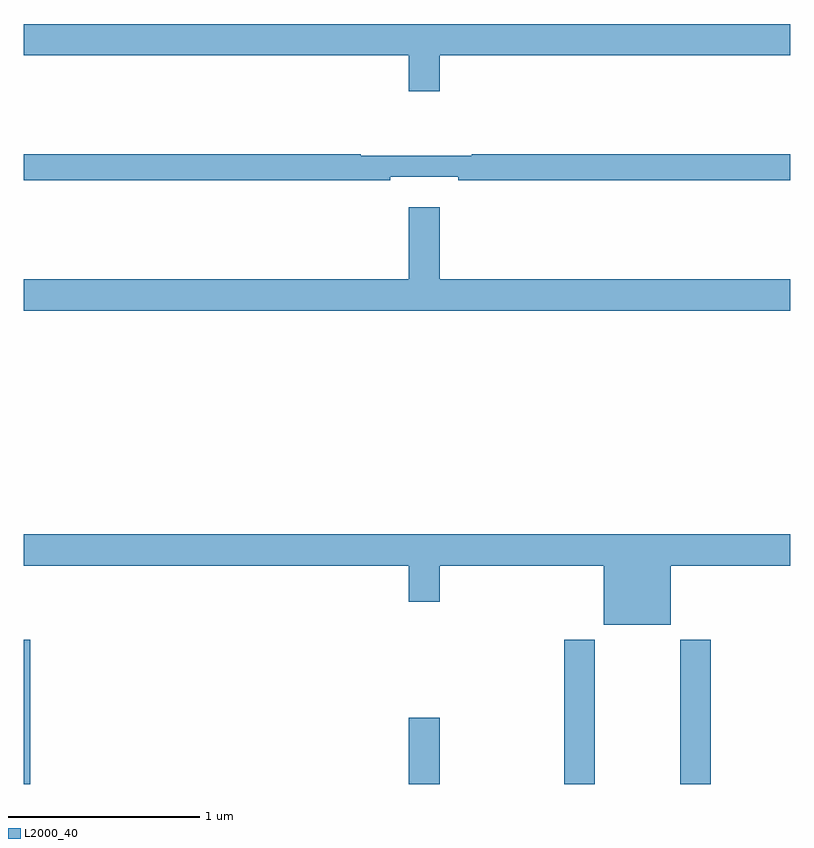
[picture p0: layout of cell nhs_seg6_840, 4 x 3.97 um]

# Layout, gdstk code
import gdstk
lib = gdstk.Library(unit=1e-6, precision=1e-09)
def R(c, l, rs):  # rectangles x0, y0, x1, y1
    for r in rs: c.add(gdstk.rectangle(r[:2], r[2:], *l))
def P(c, l, *ps):  # polygons
    for p in ps: c.add(gdstk.Polygon(p, *l))
L2000_40 = (2000, 40)

nhs_seg6_840 = lib.new_cell('nhs_seg6_840')
R(nhs_seg6_840, L2000_40, [(163,975.5,163.034,976.252), (165.008,975.5,165.172,975.847), (165.821,975.5,165.981,976.252), (166.426,975.5,166.586,976.252)])
P(nhs_seg6_840, L2000_40, [(165.172,979.304),(167,979.304),(167,979.468),(163,979.468),(163,979.304),(165.008,979.304),(165.008,979.116),(165.172,979.116)],
  [(164.912,978.671),(165.268,978.671),(165.268,978.652),(167,978.652),(167,978.788),(165.339,978.788),(165.339,978.781),(164.759,978.781),(164.759,978.788),(163,978.788),(163,978.652),(164.912,978.652)],
  [(167,978.136),(165.172,978.136),(165.172,978.511),(165.008,978.511),(165.008,978.136),(163,978.136),(163,977.972),(167,977.972)],
  [(166.378,976.64),(167,976.64),(167,976.804),(163,976.804),(163,976.64),(165.008,976.64),(165.008,976.452),(165.172,976.452),(165.172,976.64),(166.028,976.64),(166.028,976.331),(166.378,976.331)])

lib.write_gds('nhs_seg6_840.gds')
